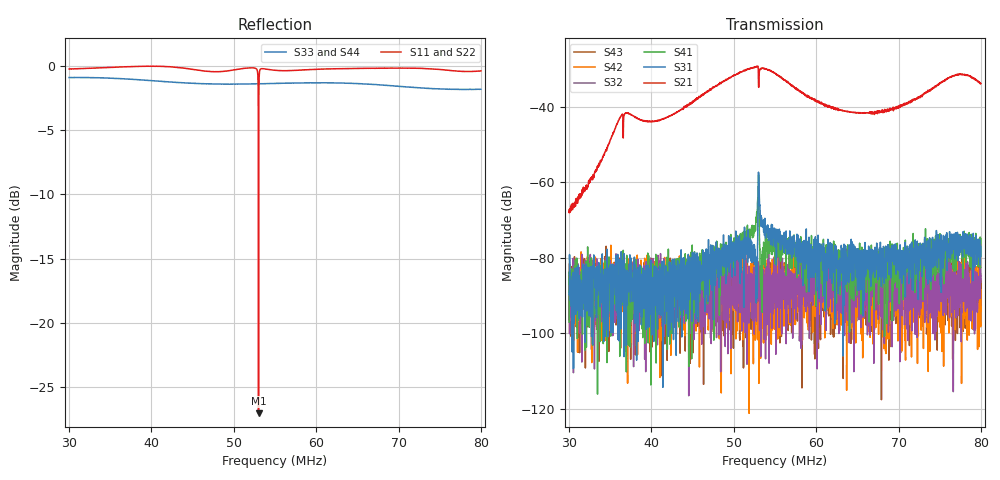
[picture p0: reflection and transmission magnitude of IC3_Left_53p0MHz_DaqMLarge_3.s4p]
#  HZ  S  DB  R  50.00
! Rohde & Schwarz Vector Network Analyzer
! Rohde-Schwarz,ZNB8-4Port,1311601044102961,2.82
! Created: UTC 2/12/2019, 11:49:46 AM
! freq[Hz]  db:S11  ang:S11  db:S12  ang:S12  db:S13  ang:S13  db:S14  ang:S14
!  db:S21  ang:S21  db:S22  ang:S22  db:S23  ang:S23  db:S24  ang:S24
!  db:S31  ang:S31  db:S32  ang:S32  db:S33  ang:S33  db:S34  ang:S34
!  db:S41  ang:S41  db:S42  ang:S42  db:S43  ang:S43  db:S44  ang:S44
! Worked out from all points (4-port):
!   2001 points, 30 MHz to 80 MHz, reference 50 ohm
!   strongest paths, dB at 30 MHz, 42.5 MHz, 55 MHz, 67.5 MHz, 80 MHz:
!     S21: -67.9, -42.2, -31.1, -41.4, -33.8
!     S31: -89.7, -88.1, -73.9, -85.8, -79.5
!     S41: -97.0, -97.1, -76.4, -82.5, -74.9
!     S32: -96.3, -83.4, -90.1, -91.1, -86.4
!     S42: -91.1, -85.2, -98.9, -86.2, -88.4
!     S43: -94.1, -88.3, -84.0, -90.4, -86.2
!   lowest |S11| = -27.0 dB at 53 MHz (marker M1), VSWR 1.09, Z = 45.8 - j0.48 ohm
!   |S11| at or under -10 dB: 52.98144 MHz to 53.01897 MHz (37.53 kHz wide, 0.0708 % of centre)
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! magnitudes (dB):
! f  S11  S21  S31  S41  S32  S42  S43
! 30 MHz  -0.3  -67.9  -89.7  -97.0  -96.3  -91.1  -94.1
! 36.27 MHz  -0.1  -42.5  -95.3  -93.6  -84.0  -93.7  -90.2
! 52.6 MHz  -0.2  -29.4  -81.3  -72.2  -85.3  -101.8  -89.9
! 53 MHz  -27.0  -34.6  -57.3  -57.9  -81.8  -92.8  -84.5
! 53.4 MHz  -0.2  -29.9  -70.3  -79.1  -92.1  -79.2  -85.6
! 65.15 MHz  -0.2  -41.5  -78.4  -83.7  -83.4  -81.5  -82.8
! 80 MHz  -0.4  -33.8  -79.5  -74.9  -86.4  -88.4  -86.2
